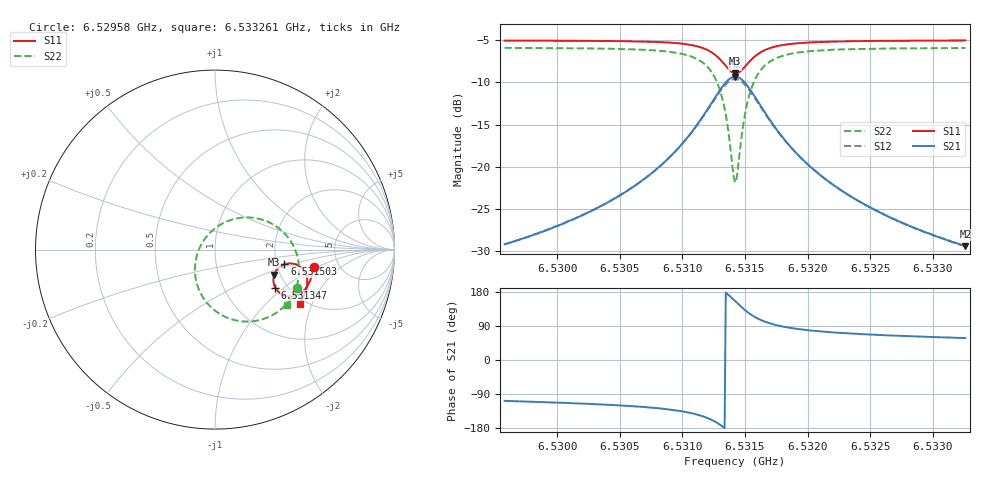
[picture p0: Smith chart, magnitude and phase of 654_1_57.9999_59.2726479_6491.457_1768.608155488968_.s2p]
#  HZ  S  RI  R  50.00
! Rohde & Schwarz Vector Network Analyzer
! Rohde-Schwarz,ZNB20-2Port,1311601062101988,3.16
! Created: UTC 3/21/2024, 1:19:40 AM
! freq[Hz]  re:S11  im:S11  re:S21  im:S21  re:S12  im:S12  re:S22  im:S22
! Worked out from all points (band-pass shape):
!   401 points, 6.52958 GHz to 6.533261 GHz, reference 50 ohm
!   highest |S21| = -9.32 dB at 6.53142 GHz (marker M1); lowest = -29.4 dB at 6.533261 GHz (marker M2)
!   |S21| within 3 dB of the highest: 6.531238 GHz to 6.531606 GHz (367.9 kHz wide, 0.00563 % of centre)
!   lowest |S11| = -8.9 dB at 6.53142 GHz (marker M3), VSWR 2.12, Z = 93.1 - j29.8 ohm
!   |S11| at or under -10 dB: nowhere
!   |S22| runs from -21.9 to -5.9 dB; largest |S21 - S12| = 0.014
!   S11 on the Smith chart (normalised r, x): 6.52958 GHz: 3.25, -0.94; 6.531347 GHz: 1.73, -0.87; 6.531503 GHz: 2.20, -0.43; 6.533261 GHz: 1.84, -1.64
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6.5295803e9  0.5514 -0.0994  -0.0105 -0.033  -0.0113 -0.0327  0.4589 -0.2167
6.5301968e9  0.5381 -0.1518  -0.0217 -0.0465  -0.0229 -0.0461  0.4225 -0.2751
6.5305464e9  0.5244 -0.1856  -0.0363 -0.0609  -0.0379 -0.0599  0.3848 -0.3177
6.5308132e9  0.5057 -0.216  -0.0607 -0.0788  -0.063 -0.077  0.33 -0.3594
6.5310248e9  0.4753 -0.2445  -0.1056 -0.0982  -0.1086 -0.0943  0.2403 -0.3948
6.5311905e9  0.4225 -0.2616  -0.188 -0.1005  -0.1897 -0.0923  0.0915 -0.3878
6.5312825e9  0.372 -0.249  -0.2655 -0.0624  -0.2627 -0.0509  -0.0348 -0.3081
6.5313193e9  0.35 -0.2315  -0.2977 -0.0259  -0.2915 -0.0143  -0.0814 -0.2408
6.5313469e9  0.336 -0.2119  -0.3166 0.0118  -0.3075 0.0226  -0.1052 -0.1744
6.5314021e9  0.3259 -0.1584  -0.3225 0.1081  -0.3093 0.1133  -0.0962 -0.0158
6.5314205e9  0.3301 -0.1393  -0.3116 0.1411  -0.2983 0.1439  -0.0724 0.0357
6.5314389e9  0.3383 -0.1216  -0.2946 0.1715  -0.2815 0.1718  -0.0392 0.0819
6.5314757e9  0.3636 -0.0938  -0.2462 0.2176  -0.2357 0.2145  0.0477 0.1484
6.5315033e9  0.3869 -0.0818  -0.2046 0.2373  -0.1963 0.2327  0.1194 0.1734
6.5315309e9  0.4099 -0.0769  -0.1639 0.2449  -0.1578 0.2402  0.1882 0.1791
6.5315677e9  0.4373 -0.0787  -0.1168 0.2418  -0.1127 0.2376  0.2664 0.1657
6.5316597e9  0.482 -0.1024  -0.0405 0.2056  -0.039 0.2032  0.389 0.0886
6.5317977e9  0.5076 -0.142  0.00379 0.1504  0.00502 0.1495  0.4542 -0.021
6.532037e9  0.5138 -0.1894  0.0214 0.0956  0.0224 0.0951  0.468 -0.1325
6.5323314e9  0.507 -0.2273  0.023 0.0636  0.024 0.0632  0.4549 -0.2042
6.5326534e9  0.4959 -0.2584  0.0215 0.0455  0.0222 0.0453  0.4359 -0.2519
6.5332607e9  0.4715 -0.3055  0.018 0.0286  0.0184 0.0283  0.4011 -0.3095
